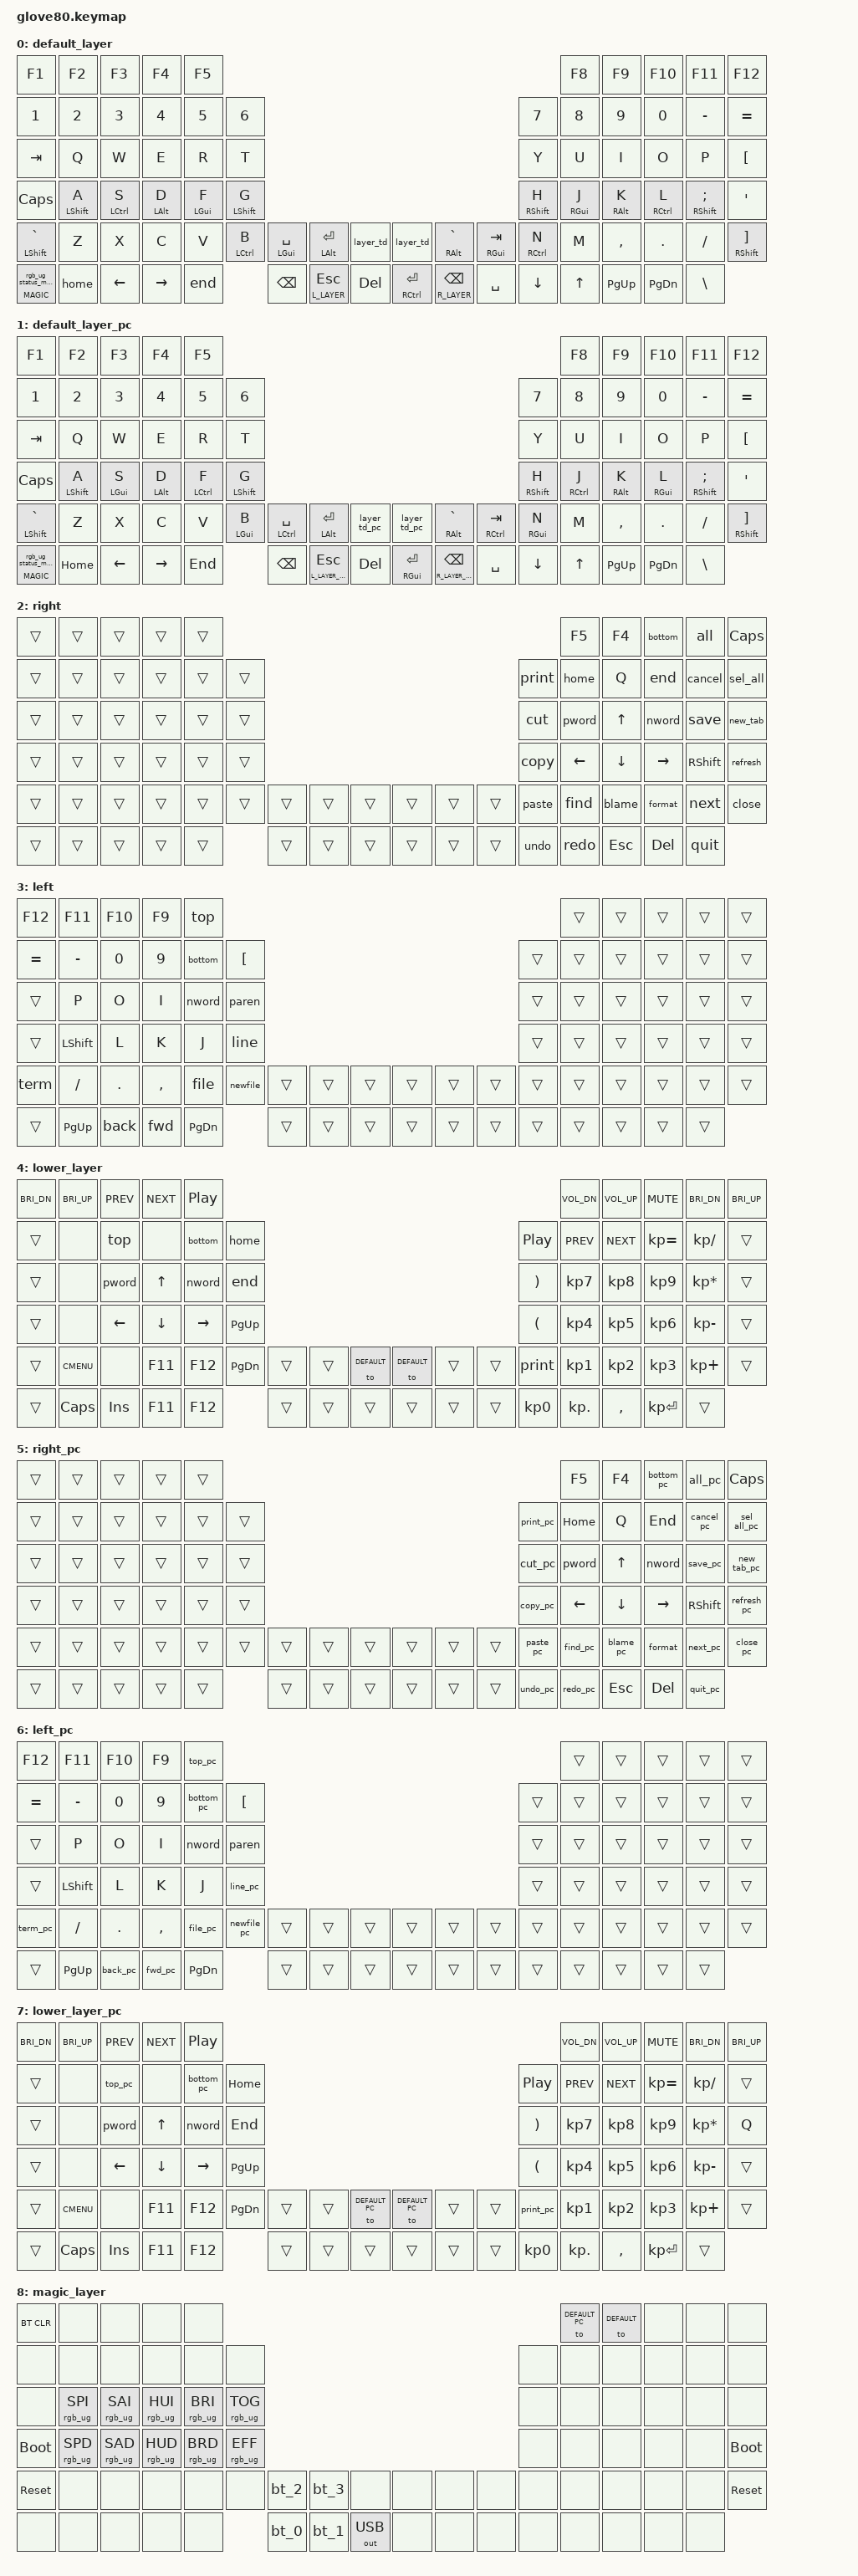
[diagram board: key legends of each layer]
/*
 * Copyright (c) 2020 The ZMK Contributors
 *
 * SPDX-License-Identifier: MIT
 */

#include <behaviors.dtsi>
#include <dt-bindings/zmk/keys.h>
#include <dt-bindings/zmk/bt.h>
#include <dt-bindings/zmk/ext_power.h>
#include <dt-bindings/zmk/outputs.h>
#include <dt-bindings/zmk/rgb.h>

#define HYPER LC(LS(LG(LALT)))

// layers
#define DEFAULT 0
#define DEFAULT_PC 1
#define R_LAYER 2
#define L_LAYER 3
#define LOWER 4
#define R_LAYER_PC 5
#define L_LAYER_PC 6
#define LOWER_PC 7
#define MAGIC 8

/ {
    behaviors {
        // For the "layer" key, it'd nice to be able to use it as either a shift or a toggle.
        // Configure it as a tap dance, so the first tap (or hold) is a &mo and the second tap is a &to
        layer_td: tap_dance_0 {
            compatible = "zmk,behavior-tap-dance";
            #binding-cells = <0>;
            tapping-term-ms = <300>;
            bindings = <&mo LOWER>, <&to LOWER>;
        };

        layer_td_pc: tap_dance_pc {
            compatible = "zmk,behavior-tap-dance";
            #binding-cells = <0>;
            tapping-term-ms = <300>;
            bindings = <&mo LOWER_PC>, <&to LOWER_PC>;
        };

        rpi: require_prior_idle {
            compatible = "zmk,behavior-hold-tap";
            #binding-cells = <2>;
            flavor = "balanced";
            tapping-term-ms = <175>;
            quick-tap-ms = <175>;
            require-prior-idle-ms = <90>;
            bindings = <&kp>, <&kp>;
        };

        magic: magic_hold_tap {
            compatible = "zmk,behavior-hold-tap";
            #binding-cells = <2>;
            flavor = "tap-preferred";
            tapping-term-ms = <200>;
            bindings = <&mo>, <&rgb_ug_status_macro>;
        };
    };

    macros {
        rgb_ug_status_macro: rgb_ug_status_macro_0 {
            compatible = "zmk,behavior-macro";
            #binding-cells = <0>;
            bindings = <&rgb_ug RGB_STATUS>;
        };

        bt_0: bt_profile_macro_0 {
            compatible = "zmk,behavior-macro";
            #binding-cells = <0>;
            bindings
                = <&out OUT_BLE>,
                  <&bt BT_SEL 0>;
        };

        bt_1: bt_profile_macro_1 {
            compatible = "zmk,behavior-macro";
            #binding-cells = <0>;
            bindings
                = <&out OUT_BLE>,
                  <&bt BT_SEL 1>;
        };

        bt_2: bt_profile_macro_2 {
            compatible = "zmk,behavior-macro";
            #binding-cells = <0>;
            bindings
                = <&out OUT_BLE>,
                  <&bt BT_SEL 2>;
        };

        bt_3: bt_profile_macro_3 {
            compatible = "zmk,behavior-macro";
            #binding-cells = <0>;
            bindings
                = <&out OUT_BLE>,
                  <&bt BT_SEL 3>;
        };

        nword: next_word {
            compatible = "zmk,behavior-macro";
            #binding-cells = <0>;
            bindings
                = <&macro_press &kp LALT>
                , <&macro_tap &kp RIGHT>
                , <&macro_release &kp LALT>
                ;
        };

        pword: previous_word {
            compatible = "zmk,behavior-macro";
            #binding-cells = <0>;
            bindings
                = <&macro_press &kp LALT>
                , <&macro_tap &kp LEFT>
                , <&macro_release &kp LALT>
                ;
        };

        sel_all: sel_all_macro {
            compatible = "zmk,behavior-macro";
            #binding-cells = <0>;
            bindings
                = <&macro_press &kp LGUI>
                , <&macro_tap &kp A>
                , <&macro_release &kp LGUI>
                ;
        };

        cut: cut_macro {
            compatible = "zmk,behavior-macro";
            #binding-cells = <0>;
            bindings
                = <&macro_press &kp LGUI>
                , <&macro_tap &kp X>
                , <&macro_release &kp LGUI>
                ;
        };

        copy: copy_macro {
            compatible = "zmk,behavior-macro";
            #binding-cells = <0>;
            bindings
                = <&macro_press &kp LGUI>
                , <&macro_tap &kp C>
                , <&macro_release &kp LGUI>
                ;
        };

        paste: paste_macro {
            compatible = "zmk,behavior-macro";
            #binding-cells = <0>;
            bindings
                = <&macro_press &kp LGUI>
                , <&macro_tap &kp V>
                , <&macro_release &kp LGUI>
                ;
        };

        undo: undo_macro {
            compatible = "zmk,behavior-macro";
            #binding-cells = <0>;
            bindings
                = <&macro_press &kp LGUI>
                , <&macro_tap &kp Z>
                , <&macro_release &kp LGUI>
                ;
        };

        redo: redo_macro {
            compatible = "zmk,behavior-macro";
            #binding-cells = <0>;
            bindings
                = <&macro_press &kp LGUI>
                , <&macro_press &kp LSHIFT>
                , <&macro_tap &kp Z>
                , <&macro_release &kp LSHIFT>
                , <&macro_release &kp LGUI>
                ;
        };

        home: home_macro {
            compatible = "zmk,behavior-macro";
            #binding-cells = <0>;
            bindings
                = <&macro_press &kp LGUI>
                , <&macro_tap &kp LEFT>
                , <&macro_release &kp LGUI>
                ;
        };

        end: end_macro {
            compatible = "zmk,behavior-macro";
            #binding-cells = <0>;
            bindings
                = <&macro_press &kp LGUI>
                , <&macro_tap &kp RIGHT>
                , <&macro_release &kp LGUI>
                ;
        };

        top: top_macro {
            compatible = "zmk,behavior-macro";
            #binding-cells = <0>;
            bindings
                = <&macro_press &kp LGUI>
                , <&macro_tap &kp UP>
                , <&macro_release &kp LGUI>
                ;
        };

        bottom: bottom_macro {
            compatible = "zmk,behavior-macro";
            #binding-cells = <0>;
            bindings
                = <&macro_press &kp LGUI>
                , <&macro_tap &kp DOWN>
                , <&macro_release &kp LGUI>
                ;
        };

        print: print_macro {
            compatible = "zmk,behavior-macro";
            #binding-cells = <0>;
            bindings
                = <&macro_press &kp RGUI>
                , <&macro_press &kp RIGHT_SHIFT>
                , <&macro_tap &kp N4>
                , <&macro_release &kp RGUI>
                , <&macro_release &kp RIGHT_SHIFT>
                ;
        };

        find: find_macro {
            compatible = "zmk,behavior-macro";
            #binding-cells = <0>;
            bindings
                = <&macro_press &kp RGUI>
                , <&macro_tap &kp F>
                , <&macro_release &kp RGUI>
                ;
        };

        next: next_macro {
            compatible = "zmk,behavior-macro";
            #binding-cells = <0>;
            bindings
                = <&macro_press &kp RGUI>
                , <&macro_tap &kp D>
                , <&macro_release &kp RGUI>
                ;
        };

        all: all_macro {
            compatible = "zmk,behavior-macro";
            #binding-cells = <0>;
            bindings
                = <&macro_press &kp RGUI>
                , <&macro_tap &kp F2>
                , <&macro_release &kp RGUI>
                ;
        };

        format: format_macro {
            compatible = "zmk,behavior-macro";
            #binding-cells = <0>;
            bindings
                = <&macro_press &kp LEFT_SHIFT>
                , <&macro_press &kp RALT>
                , <&macro_tap &kp F>
                , <&macro_release &kp RALT>
                , <&macro_release &kp LEFT_SHIFT>
                ;
        };

        new_tab: new_tab_macro {
            compatible = "zmk,behavior-macro";
            #binding-cells = <0>;
            bindings
                = <&macro_press &kp RGUI>
                , <&macro_tap &kp T>
                , <&macro_release &kp RGUI>
                ;
        };

        refresh: refresh_macro {
            compatible = "zmk,behavior-macro";
            #binding-cells = <0>;
            bindings
                = <&macro_press &kp RGUI>
                , <&macro_tap &kp R>
                , <&macro_release &kp RGUI>
                ;
        };

        close: close_macro {
            compatible = "zmk,behavior-macro";
            #binding-cells = <0>;
            bindings
                = <&macro_press &kp RGUI>
                , <&macro_tap &kp W>
                , <&macro_release &kp RGUI>
                ;
        };

        quit: quit_macro {
            compatible = "zmk,behavior-macro";
            #binding-cells = <0>;
            bindings
                = <&macro_press &kp RGUI>
                , <&macro_tap &kp Q>
                , <&macro_release &kp RGUI>
                ;
        };

        blame: blame_macro {
            compatible = "zmk,behavior-macro";
            #binding-cells = <0>;
            bindings
                = <&macro_press &kp RCTRL>
                , <&macro_tap &kp B>
                , <&macro_release &kp RCTRL>
                ;
        };

        cancel: cancel_macro {
            compatible = "zmk,behavior-macro";
            #binding-cells = <0>;
            bindings
                = <&macro_press &kp RCTRL>
                , <&macro_tap &kp C>
                , <&macro_release &kp RCTRL>
                ;
        };

        save: save_macro {
            compatible = "zmk,behavior-macro";
            #binding-cells = <0>;
            bindings
                = <&macro_press &kp RGUI>
                , <&macro_tap &kp S>
                , <&macro_release &kp RGUI>
                ;
        };

        file: file_macro {
            compatible = "zmk,behavior-macro";
            #binding-cells = <0>;
            bindings
                = <&macro_press &kp RGUI>
                , <&macro_tap &kp P>
                , <&macro_release &kp RGUI>
                ;
        };

        open: open_macro {
            compatible = "zmk,behavior-macro";
            #binding-cells = <0>;
            bindings
                = <&macro_press &kp RGUI>
                , <&macro_tap &kp O>
                , <&macro_release &kp RGUI>
                ;
        };

        suggestion: suggestion_macro {
            compatible = "zmk,behavior-macro";
            #binding-cells = <0>;
            bindings
                = <&macro_press &kp RGUI>
                , <&macro_tap &kp DOT>
                , <&macro_release &kp RGUI>
                ;
        };

        config: config_macro {
            compatible = "zmk,behavior-macro";
            #binding-cells = <0>;
            bindings
                = <&macro_press &kp RGUI>
                , <&macro_tap &kp COMMA>
                , <&macro_release &kp RGUI>
                ;
        };

        newfile: newfile_macro {
            compatible = "zmk,behavior-macro";
            #binding-cells = <0>;
            bindings
                = <&macro_press &kp RGUI>
                , <&macro_tap &kp N>
                , <&macro_release &kp RGUI>
                ;
        };

        line: line_macro {
            compatible = "zmk,behavior-macro";
            #binding-cells = <0>;
            bindings
                = <&macro_press &kp RGUI>
                , <&macro_tap &kp L>
                , <&macro_release &kp RGUI>
                ;
        };

        comment: comment_macro {
            compatible = "zmk,behavior-macro";
            #binding-cells = <0>;
            bindings
                = <&macro_press &kp RGUI>
                , <&macro_tap &kp FSLH>
                , <&macro_release &kp RGUI>
                ;
        };

        back: back_macro {
            compatible = "zmk,behavior-macro";
            #binding-cells = <0>;
            bindings
                = <&macro_press &kp RGUI>
                , <&macro_tap &kp LEFT_BRACKET>
                , <&macro_release &kp RGUI>
                ;
        };

        fwd: forward_macro {
            compatible = "zmk,behavior-macro";
            #binding-cells = <0>;
            bindings
                = <&macro_press &kp RGUI>
                , <&macro_tap &kp RIGHT_BRACKET>
                , <&macro_release &kp RGUI>
                ;
        };

        paren: parenthesis_macro {
            compatible = "zmk,behavior-macro";
            #binding-cells = <0>;
            bindings
                = <&macro_press &kp RSHIFT>
                , <&macro_tap &kp NUMBER_9>
                , <&macro_release &kp RSHIFT>
                ;
        };

        term: terminal_macro {
            compatible = "zmk,behavior-macro";
            #binding-cells = <0>;
            bindings
                = <&macro_press &kp RCTRL>
                , <&macro_tap &kp GRAVE>
                , <&macro_release &kp RCTRL>
                ;
        };

        sel_all_pc: sel_all_macro_pc {
            compatible = "zmk,behavior-macro";
            #binding-cells = <0>;
            bindings
                = <&macro_press &kp LCTRL>
                , <&macro_tap &kp A>
                , <&macro_release &kp LCTRL>
                ;
        };

        cut_pc: cut_macro_pc {
            compatible = "zmk,behavior-macro";
            #binding-cells = <0>;
            bindings
                = <&macro_press &kp LCTRL>
                , <&macro_tap &kp X>
                , <&macro_release &kp LCTRL>
                ;
        };

        copy_pc: copy_macro_pc {
            compatible = "zmk,behavior-macro";
            #binding-cells = <0>;
            bindings
                = <&macro_press &kp LCTRL>
                , <&macro_tap &kp C>
                , <&macro_release &kp LCTRL>
                ;
        };

        paste_pc: paste_macro_pc {
            compatible = "zmk,behavior-macro";
            #binding-cells = <0>;
            bindings
                = <&macro_press &kp LCTRL>
                , <&macro_tap &kp V>
                , <&macro_release &kp LCTRL>
                ;
        };

        undo_pc: undo_macro_pc {
            compatible = "zmk,behavior-macro";
            #binding-cells = <0>;
            bindings
                = <&macro_press &kp LCTRL>
                , <&macro_tap &kp Z>
                , <&macro_release &kp LCTRL>
                ;
        };

        redo_pc: redo_macro_pc {
            compatible = "zmk,behavior-macro";
            #binding-cells = <0>;
            bindings
                = <&macro_press &kp LCTRL>
                , <&macro_press &kp LSHIFT>
                , <&macro_tap &kp Z>
                , <&macro_release &kp LSHIFT>
                , <&macro_release &kp LCTRL>
                ;
        };

        top_pc: top_macro_pc {
            compatible = "zmk,behavior-macro";
            #binding-cells = <0>;
            bindings
                = <&macro_press &kp LCTRL>
                , <&macro_tap &kp UP>
                , <&macro_release &kp LCTRL>
                ;
        };

        bottom_pc: bottom_macro_pc {
            compatible = "zmk,behavior-macro";
            #binding-cells = <0>;
            bindings
                = <&macro_press &kp LCTRL>
                , <&macro_tap &kp DOWN>
                , <&macro_release &kp LCTRL>
                ;
        };

        print_pc: print_macro_pc {
            compatible = "zmk,behavior-macro";
            #binding-cells = <0>;
            bindings
                = <&macro_press &kp RCTRL>
                , <&macro_press &kp RIGHT_SHIFT>
                , <&macro_tap &kp N4>
                , <&macro_release &kp RCTRL>
                , <&macro_release &kp RIGHT_SHIFT>
                ;
        };

        find_pc: find_macro_pc {
            compatible = "zmk,behavior-macro";
            #binding-cells = <0>;
            bindings
                = <&macro_press &kp RCTRL>
                , <&macro_tap &kp F>
                , <&macro_release &kp RCTRL>
                ;
        };

        next_pc: next_macro_pc {
            compatible = "zmk,behavior-macro";
            #binding-cells = <0>;
            bindings
                = <&macro_press &kp RCTRL>
                , <&macro_tap &kp D>
                , <&macro_release &kp RCTRL>
                ;
        };

        all_pc: all_macro_pc {
            compatible = "zmk,behavior-macro";
            #binding-cells = <0>;
            bindings
                = <&macro_press &kp RCTRL>
                , <&macro_tap &kp F2>
                , <&macro_release &kp RCTRL>
                ;
        };

        new_tab_pc: new_tab_macro_pc {
            compatible = "zmk,behavior-macro";
            #binding-cells = <0>;
            bindings
                = <&macro_press &kp RCTRL>
                , <&macro_tap &kp T>
                , <&macro_release &kp RCTRL>
                ;
        };

        refresh_pc: refresh_macro_pc {
            compatible = "zmk,behavior-macro";
            #binding-cells = <0>;
            bindings
                = <&macro_press &kp RCTRL>
                , <&macro_tap &kp R>
                , <&macro_release &kp RCTRL>
                ;
        };

        close_pc: close_macro_pc {
            compatible = "zmk,behavior-macro";
            #binding-cells = <0>;
            bindings
                = <&macro_press &kp RCTRL>
                , <&macro_tap &kp W>
                , <&macro_release &kp RCTRL>
                ;
        };

        quit_pc: quit_macro_pc {
            compatible = "zmk,behavior-macro";
            #binding-cells = <0>;
            bindings
                = <&macro_press &kp RCTRL>
                , <&macro_tap &kp Q>
                , <&macro_release &kp RCTRL>
                ;
        };

        blame_pc: blame_macro_pc {
            compatible = "zmk,behavior-macro";
            #binding-cells = <0>;
            bindings
                = <&macro_press &kp RGUI>
                , <&macro_tap &kp B>
                , <&macro_release &kp RGUI>
                ;
        };

        cancel_pc: cancel_macro_pc {
            compatible = "zmk,behavior-macro";
            #binding-cells = <0>;
            bindings
                = <&macro_press &kp RGUI>
                , <&macro_tap &kp C>
                , <&macro_release &kp RGUI>
                ;
        };

        save_pc: save_macro_pc {
            compatible = "zmk,behavior-macro";
            #binding-cells = <0>;
            bindings
                = <&macro_press &kp RCTRL>
                , <&macro_tap &kp S>
                , <&macro_release &kp RCTRL>
                ;
        };

        file_pc: file_macro_pc {
            compatible = "zmk,behavior-macro";
            #binding-cells = <0>;
            bindings
                = <&macro_press &kp RCTRL>
                , <&macro_tap &kp P>
                , <&macro_release &kp RCTRL>
                ;
        };

        open_pc: open_macro_pc {
            compatible = "zmk,behavior-macro";
            #binding-cells = <0>;
            bindings
                = <&macro_press &kp RCTRL>
                , <&macro_tap &kp O>
                , <&macro_release &kp RCTRL>
                ;
        };

        suggestion_pc: suggestion_macro_pc {
            compatible = "zmk,behavior-macro";
            #binding-cells = <0>;
            bindings
                = <&macro_press &kp RCTRL>
                , <&macro_tap &kp DOT>
                , <&macro_release &kp RCTRL>
                ;
        };

        config_pc: config_macro_pc {
            compatible = "zmk,behavior-macro";
            #binding-cells = <0>;
            bindings
                = <&macro_press &kp RCTRL>
                , <&macro_tap &kp COMMA>
                , <&macro_release &kp RCTRL>
                ;
        };

        newfile_pc: newfile_macro_pc {
            compatible = "zmk,behavior-macro";
            #binding-cells = <0>;
            bindings
                = <&macro_press &kp RCTRL>
                , <&macro_tap &kp N>
                , <&macro_release &kp RCTRL>
                ;
        };

        line_pc: line_macro_pc {
            compatible = "zmk,behavior-macro";
            #binding-cells = <0>;
            bindings
                = <&macro_press &kp RCTRL>
                , <&macro_tap &kp L>
                , <&macro_release &kp RCTRL>
                ;
        };

        comment_pc: comment_macro_pc {
            compatible = "zmk,behavior-macro";
            #binding-cells = <0>;
            bindings
                = <&macro_press &kp RCTRL>
                , <&macro_tap &kp FSLH>
                , <&macro_release &kp RCTRL>
                ;
        };

        back_pc: back_macro_pc {
            compatible = "zmk,behavior-macro";
            #binding-cells = <0>;
            bindings
                = <&macro_press &kp RCTRL>
                , <&macro_tap &kp LEFT_BRACKET>
                , <&macro_release &kp RCTRL>
                ;
        };

        fwd_pc: forward_macro_pc {
            compatible = "zmk,behavior-macro";
            #binding-cells = <0>;
            bindings
                = <&macro_press &kp RCTRL>
                , <&macro_tap &kp RIGHT_BRACKET>
                , <&macro_release &kp RCTRL>
                ;
        };

        term_pc: terminal_macro_pc {
            compatible = "zmk,behavior-macro";
            #binding-cells = <0>;
            bindings
                = <&macro_press &kp RGUI>
                , <&macro_tap &kp GRAVE>
                , <&macro_release &kp RGUI>
                ;
        };
    };

    keymap {
        compatible = "zmk,keymap";

        default_layer {
            bindings = <
            &kp F1             &kp F2          &kp F3            &kp F4           &kp F5                                                                                                                                                   &kp F8       &kp F9           &kp F10           &kp F11            &kp F12
            &kp N1             &kp N2          &kp N3            &kp N4           &kp N5           &kp N6                                                                                                                  &kp N7          &kp N8       &kp N9           &kp N0            &kp MINUS          &kp EQUAL
            &kp TAB            &kp Q           &kp W             &kp E            &kp R            &kp T                                                                                                                   &kp Y           &kp U        &kp I            &kp O             &kp P              &kp LBKT
            &kp CAPS           &rpi LSHIFT A   &rpi LCTRL S      &rpi LALT D      &rpi LGUI F      &rpi LSHIFT G                                                                                                           &rpi RSHIFT H   &rpi RGUI J  &rpi RALT K      &rpi RCTRL L      &rpi RSHIFT SEMI   &kp SQT
            &rpi LSHIFT GRAVE  &kp Z           &kp X             &kp C            &kp V            &rpi LCTRL B   &rpi LGUI SPACE   &rpi LALT RET     &layer_td        &layer_td       &rpi RALT GRAVE   &rpi RGUI TAB     &rpi RCTRL N    &kp M        &kp COMMA        &kp DOT           &kp FSLH           &rpi RSHIFT RBKT
            &magic MAGIC 0     &home           &kp LEFT          &kp RIGHT        &end                            &kp BSPC          &lt L_LAYER ESC   &kp DEL          &rpi RCTRL RET  &lt R_LAYER BSPC  &kp SPACE         &kp DOWN        &kp UP       &kp PG_UP        &kp PG_DN         &kp BSLH
            >;
        };

        default_layer_pc {
            bindings = <
            &kp F1             &kp F2          &kp F3            &kp F4           &kp F5                                                                                                                                                   &kp F8        &kp F9          &kp F10           &kp F11            &kp F12
            &kp N1             &kp N2          &kp N3            &kp N4           &kp N5           &kp N6                                                                                                                   &kp N7         &kp N8        &kp N9          &kp N0            &kp MINUS          &kp EQUAL
            &kp TAB            &kp Q           &kp W             &kp E            &kp R            &kp T                                                                                                                    &kp Y          &kp U         &kp I           &kp O             &kp P              &kp LBKT
            &kp CAPS           &rpi LSHIFT A   &rpi LGUI S       &rpi LALT D      &rpi LCTRL F     &rpi LSHIFT G                                                                                                            &rpi RSHIFT H  &rpi RCTRL J  &rpi RALT K     &rpi RGUI L       &rpi RSHIFT SEMI   &kp SQT
            &rpi LSHIFT GRAVE  &kp Z           &kp X             &kp C            &kp V            &rpi LGUI B    &rpi LCTRL SPACE  &rpi LALT RET       &layer_td_pc   &layer_td_pc    &rpi RALT GRAVE      &rpi RCTRL TAB  &rpi RGUI N    &kp M         &kp COMMA       &kp DOT           &kp FSLH           &rpi RSHIFT RBKT
            &magic MAGIC 0     &kp HOME        &kp LEFT          &kp RIGHT        &kp END                         &kp BSPC          &lt L_LAYER_PC ESC  &kp DEL        &rpi RGUI RET   &lt R_LAYER_PC BSPC  &kp SPACE                      &kp DOWN      &kp UP          &kp PG_UP         &kp PG_DN          &kp BSLH
            >;
        };

        right {
            bindings = <
            &trans      &trans      &trans       &trans       &trans                                                                                            &kp F5      &kp F4       &bottom      &all         &kp CAPS
            &trans      &trans      &trans       &trans       &trans       &trans                                                                 &print        &home       &kp Q        &end         &cancel      &sel_all
            &trans      &trans      &trans       &trans       &trans       &trans                                                                 &cut          &pword      &kp UP       &nword       &save        &new_tab
            &trans      &trans      &trans       &trans       &trans       &trans                                                                 &copy         &kp LEFT    &kp DOWN     &kp RIGHT    &kp RSHIFT   &refresh
            &trans      &trans      &trans       &trans       &trans       &trans      &trans   &trans   &trans      &trans   &trans   &trans     &paste        &find       &blame       &format      &next        &close
            &trans      &trans      &trans       &trans       &trans                   &trans   &trans   &trans      &trans   &trans   &trans                   &undo       &redo        &kp ESC      &kp DEL      &quit
            >;
        };

        left {
            bindings = <
            &kp F12     &kp F11       &kp F10      &kp F9        &top                                                                                             &trans       &trans       &trans       &trans       &trans
            &kp EQUAL   &kp MINUS     &kp N0       &kp N9        &bottom      &kp LEFT_BRACKET                                                       &trans       &trans       &trans       &trans       &trans       &trans
            &trans      &kp P         &kp O        &kp I         &nword       &paren                                                                 &trans       &trans       &trans       &trans       &trans       &trans
            &trans      &kp LSHIFT    &kp L        &kp K         &kp J        &line                                                                  &trans       &trans       &trans       &trans       &trans       &trans
            &term       &kp FSLH      &kp DOT      &kp COMMA     &file        &newfile    &trans   &trans   &trans      &trans   &trans   &trans     &trans       &trans       &trans       &trans       &trans       &trans
            &trans      &kp PG_UP     &back        &fwd          &kp PG_DN                &trans   &trans   &trans      &trans   &trans   &trans                  &trans       &trans       &trans       &trans       &trans
            >;
        };

        lower_layer {
            bindings = <
            &kp C_BRI_DN      &kp C_BRI_UP        &kp C_PREV      &kp C_NEXT      &kp C_PP                                                                                                               &kp C_VOL_DN   &kp C_VOL_UP    &kp C_MUTE      &kp C_BRI_DN       &kp C_BRI_UP
            &trans            &none               &top            &none           &bottom         &home                                                                                     &kp C_PP     &kp C_PREV     &kp C_NEXT      &kp KP_EQUAL    &kp KP_DIVIDE      &trans
            &trans            &none               &pword          &kp UP          &nword          &end                                                                                      &kp RPAR     &kp KP_N7      &kp KP_N8       &kp KP_N9       &kp KP_MULTIPLY    &trans
            &trans            &none               &kp LEFT        &kp DOWN        &kp RIGHT       &kp PG_UP                                                                                 &kp LPAR     &kp KP_N4      &kp KP_N5       &kp KP_N6       &kp KP_MINUS       &trans
            &trans            &kp K_CMENU         &none           &kp F11         &kp F12         &kp PG_DN       &trans      &trans      &to DEFAULT   &to DEFAULT   &trans      &trans    &print       &kp KP_N1      &kp KP_N2       &kp KP_N3       &kp KP_PLUS        &trans
            &trans            &kp CAPS            &kp INS         &kp F11         &kp F12                         &trans      &trans      &trans        &trans        &trans      &trans                 &kp KP_N0      &kp KP_DOT      &kp COMMA       &kp KP_ENTER       &trans
            >;
        };

        right_pc {
            bindings = <
            &trans      &trans      &trans       &trans       &trans                                                                                            &kp F5      &kp F4       &bottom_pc   &all_pc      &kp CAPS
            &trans      &trans      &trans       &trans       &trans       &trans                                                                 &print_pc     &kp HOME    &kp Q        &kp END      &cancel_pc   &sel_all_pc
            &trans      &trans      &trans       &trans       &trans       &trans                                                                 &cut_pc       &pword      &kp UP       &nword       &save_pc     &new_tab_pc
            &trans      &trans      &trans       &trans       &trans       &trans                                                                 &copy_pc      &kp LEFT    &kp DOWN     &kp RIGHT    &kp RSHIFT   &refresh_pc
            &trans      &trans      &trans       &trans       &trans       &trans      &trans   &trans   &trans      &trans   &trans   &trans     &paste_pc     &find_pc    &blame_pc    &format      &next_pc     &close_pc
            &trans      &trans      &trans       &trans       &trans                   &trans   &trans   &trans      &trans   &trans   &trans                   &undo_pc    &redo_pc     &kp ESC      &kp DEL      &quit_pc
            >;
        };

        left_pc {
            bindings = <
            &kp F12     &kp F11       &kp F10      &kp F9        &top_pc                                                                                          &trans       &trans       &trans       &trans       &trans
            &kp EQUAL   &kp MINUS     &kp N0       &kp N9        &bottom_pc   &kp LEFT_BRACKET                                                       &trans       &trans       &trans       &trans       &trans       &trans
            &trans      &kp P         &kp O        &kp I         &nword       &paren                                                                 &trans       &trans       &trans       &trans       &trans       &trans
            &trans      &kp LSHIFT    &kp L        &kp K         &kp J        &line_pc                                                               &trans       &trans       &trans       &trans       &trans       &trans
            &term_pc    &kp FSLH      &kp DOT      &kp COMMA     &file_pc     &newfile_pc       &trans  &trans  &trans  &trans   &trans   &trans     &trans       &trans       &trans       &trans       &trans       &trans
            &trans      &kp PG_UP     &back_pc     &fwd_pc       &kp PG_DN                      &trans  &trans  &trans  &trans   &trans   &trans                  &trans       &trans       &trans       &trans       &trans
            >;
        };

        lower_layer_pc {
            bindings = <
            &kp C_BRI_DN      &kp C_BRI_UP        &kp C_PREV      &kp C_NEXT      &kp C_PP                                                                                                               &kp C_VOL_DN   &kp C_VOL_UP    &kp C_MUTE      &kp C_BRI_DN       &kp C_BRI_UP
            &trans            &none               &top_pc         &none           &bottom_pc      &kp HOME                                                                                  &kp C_PP     &kp C_PREV     &kp C_NEXT      &kp KP_EQUAL    &kp KP_DIVIDE      &trans
            &trans            &none               &pword          &kp UP          &nword          &kp END                                                                                   &kp RPAR     &kp KP_N7      &kp KP_N8       &kp KP_N9       &kp KP_MULTIPLY    &kp Q
            &trans            &none               &kp LEFT        &kp DOWN        &kp RIGHT       &kp PG_UP                                                                                 &kp LPAR     &kp KP_N4      &kp KP_N5       &kp KP_N6       &kp KP_MINUS       &trans
            &trans            &kp K_CMENU         &none           &kp F11         &kp F12         &kp PG_DN       &trans      &trans      &to DEFAULT_PC  &to DEFAULT_PC  &trans  &trans    &print_pc    &kp KP_N1      &kp KP_N2       &kp KP_N3       &kp KP_PLUS        &trans
            &trans            &kp CAPS            &kp INS         &kp F11         &kp F12                         &trans      &trans      &trans          &trans          &trans  &trans                 &kp KP_N0      &kp KP_DOT      &kp COMMA       &kp KP_ENTER       &trans
            >;
        };

        // Magic+F8 selects PC; Magic+F9 selects macOS.
        magic_layer {
            bindings = <
            &bt BT_CLR        &none               &none            &none            &none                                                                                                         &to DEFAULT_PC  &to DEFAULT  &none    &none      &none
            &none             &none               &none            &none            &none            &none                                                                             &none      &none           &none        &none    &none      &none
            &none             &rgb_ug RGB_SPI     &rgb_ug RGB_SAI  &rgb_ug RGB_HUI  &rgb_ug RGB_BRI  &rgb_ug RGB_TOG                                                                   &none      &none           &none        &none    &none      &none
            &bootloader       &rgb_ug RGB_SPD     &rgb_ug RGB_SAD  &rgb_ug RGB_HUD  &rgb_ug RGB_BRD  &rgb_ug RGB_EFF                                                                   &none      &none           &none        &none    &none      &bootloader
            &sys_reset        &none               &none            &none            &none            &none            &bt_2  &bt_3    &none            &none     &none     &none       &none      &none           &none        &none    &none      &sys_reset
            &none             &none               &none            &none            &none                             &bt_0  &bt_1    &out OUT_USB     &none     &none     &none                  &none           &none        &none    &none      &none
            >;
        };
    };
};
